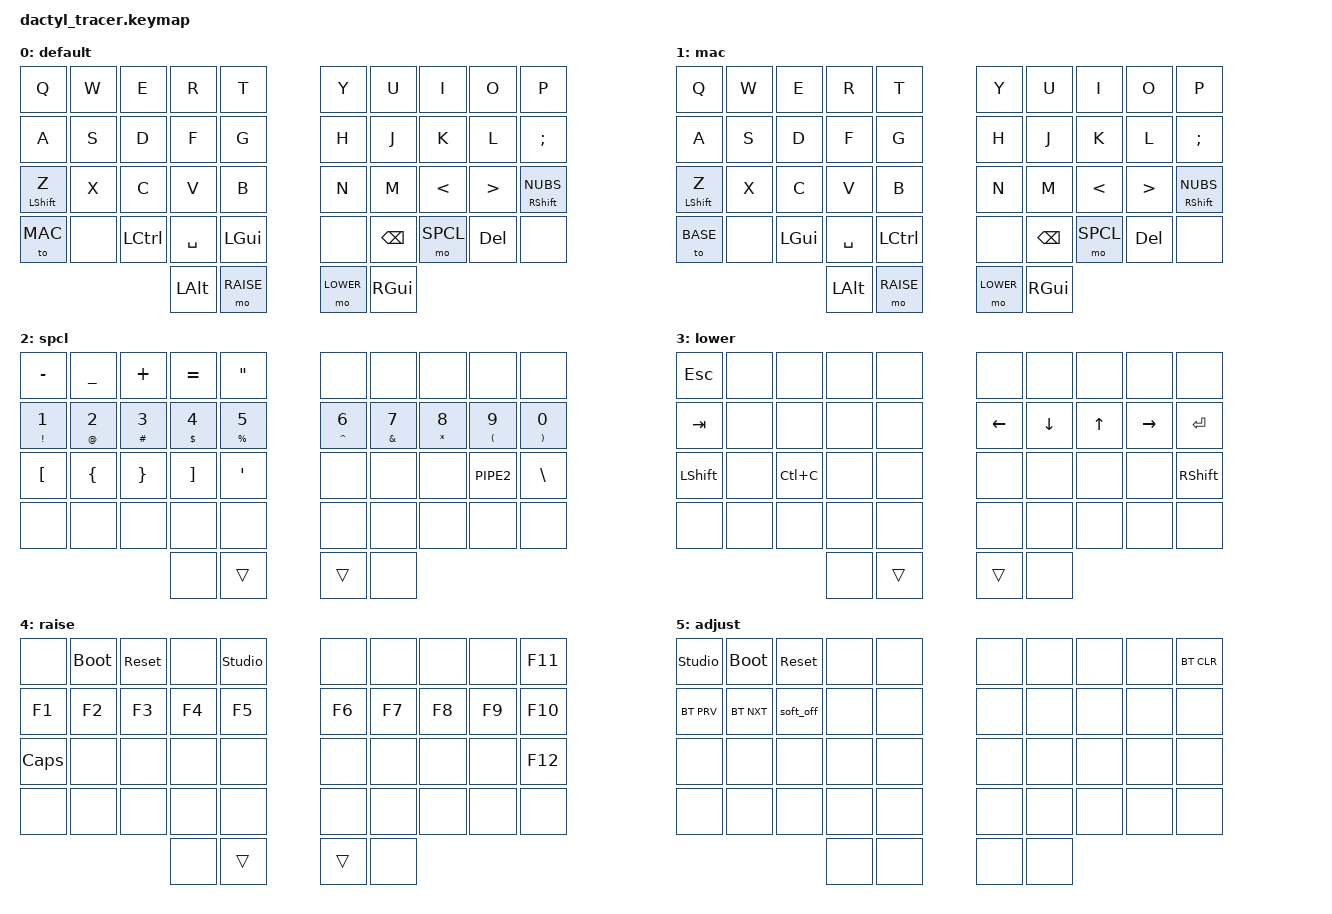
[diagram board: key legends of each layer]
#include <behaviors.dtsi>
#include <dt-bindings/zmk/keys.h>
#include <dt-bindings/zmk/bt.h>
#include <dt-bindings/zmk/outputs.h>

#define BASE   0
#define MAC    1
#define SPCL   2
#define LOWER  3
#define RAISE  4
#define ADJUST 5


/ {

    conditional_layers {
        compatible = "zmk,conditional-layers";
        adjust_layer {
            if-layers = <LOWER RAISE>;
            then-layer = <ADJUST>;
        };
    };

    /* combos { */
    /*     compatible = "zmk,combos"; */
    /* }; */

    keymap {
        compatible = "zmk,keymap";

        base {
            display-name = "default";
            bindings = <
                &kp Q        &kp W   &kp E     &kp R     &kp T         &kp Y     &kp U     &kp I    &kp O   &kp P
                &kp A        &kp S   &kp D     &kp F     &kp G         &kp H     &kp J     &kp K    &kp L   &kp SEMI
                &mt LSHIFT Z &kp X   &kp C     &kp V     &kp B         &kp N     &kp M     &kp LT   &kp GT  &mt RSHIFT NUBS
                &to MAC      &none   &kp LCTRL &kp SPACE &kp LGUI      &none     &kp BSPC  &mo SPCL &kp DEL &none
                                               &kp LALT  &mo RAISE     &mo LOWER &kp RGUI
            >;
        };

        mac {
            display-name = "mac";
            bindings = <
                &kp Q        &kp W  &kp E     &kp R     &kp T         &kp Y     &kp U     &kp I    &kp O    &kp P
                &kp A        &kp S  &kp D     &kp F     &kp G         &kp H     &kp J     &kp K    &kp L    &kp SEMI
                &mt LSHIFT Z &kp X  &kp C     &kp V     &kp B         &kp N     &kp M     &kp LT   &kp GT   &mt RSHIFT NUBS
                &to BASE     &none  &kp LGUI  &kp SPACE &kp LCTRL     &none     &kp BSPC  &mo SPCL &kp DEL  &none
                                              &kp LALT  &mo RAISE     &mo LOWER &kp RGUI
            >;
        };

        spcl { 
            display-name = "spcl";
            bindings = <
                &kp MINUS   &kp UNDER &kp PLUS    &kp EQUAL   &kp DQT         &none        &none       &none       &none       &none
                &mt EXCL N1 &mt AT N2 &mt HASH N3 &mt DLLR N4 &mt PRCNT N5    &mt CARET N6 &mt AMPS N7 &mt STAR N8 &mt LPAR N9 &mt RPAR N0
                &kp LBKT    &kp LBRC  &kp RBRC    &kp RBKT    &kp SQT         &none        &none       &none       &kp PIPE2   &kp BSLH 
                &none       &none     &none       &none       &none           &none        &none       &none       &none       &none
                                                  &none       &trans          &trans       &none
            >;
        };

        lower { 
            display-name = "lower";
            bindings = <
                &kp ESC    &none   &none     &none     &none         &none     &none    &none    &none     &none
                &kp TAB    &none   &none     &none     &none         &kp LEFT  &kp DOWN &kp UP   &kp RIGHT &kp RET 
                &kp LSHIFT &none   &kp LC(C) &none     &none         &none     &none    &none    &none     &kp RSHIFT
                &none      &none   &none     &none     &none         &none     &none    &none    &none     &none
                                             &none     &trans        &trans    &none  
            >;
        };

        //TODO: Remove bootload, softoff, studio  from raise layer after right half is flakshed

        raise { 
            display-name = "raise";
            bindings = <
                &none     &bootloader &sys_reset &none       &studio_unlock &none     &none    &none    &none     &kp F11 
                &kp F1    &kp F2      &kp F3     &kp F4      &kp F5         &kp F6    &kp F7   &kp F8   &kp F9    &kp F10
                &kp CAPS  &none       &none      &none       &none          &none     &none    &none    &none     &kp F12
                &none     &none       &none      &none       &none          &none     &none    &none    &none     &none
                                                 &none       &trans         &trans    &none  
            >;
        };

        adjust { 
            display-name = "adjust";
            bindings = <
                &studio_unlock &bootloader &sys_reset &none     &none         &none     &none    &none    &none     &bt BT_CLR
                &bt BT_PRV     &bt BT_NXT  &soft_off  &none     &none         &none     &none    &none    &none     &none 
                &none          &none       &none      &none     &none         &none     &none    &none    &none     &none
                &none          &none       &none      &none     &none         &none     &none    &none    &none     &none
                                                      &none     &none         &none     &none  
            >;
        };
    };
 };
